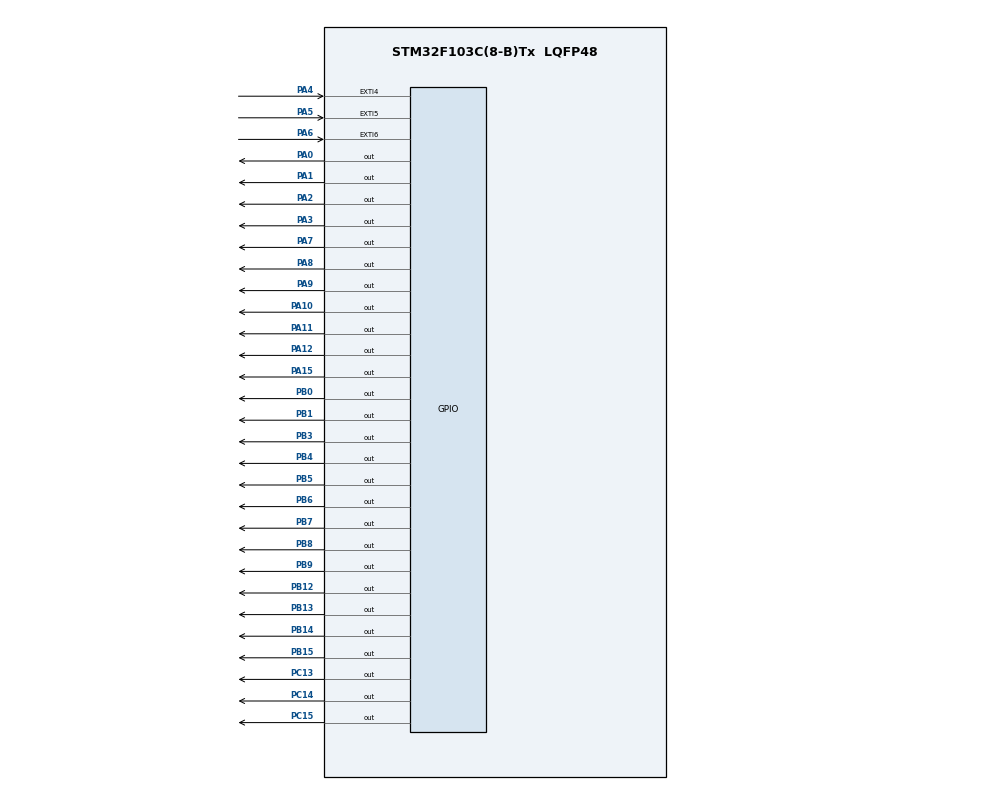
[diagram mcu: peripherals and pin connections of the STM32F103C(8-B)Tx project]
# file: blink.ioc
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Mcu.Family=STM32F1
Mcu.Name=STM32F103C(8-B)Tx
Mcu.Package=LQFP48
NVIC.EXTI4_IRQn=true\:0\:0\:false\:false\:true\:true\:true
NVIC.EXTI9_5_IRQn=true\:0\:0\:false\:false\:true\:true\:true
NVIC.PriorityGroup=NVIC_PRIORITYGROUP_4
PA0-WKUP.Signal=GPIO_Output
PA1.Signal=GPIO_Output
PA10.Signal=GPIO_Output
PA11.Signal=GPIO_Output
PA12.Signal=GPIO_Output
PA13.Mode=Serial_Wire
PA13.Signal=SYS_JTMS-SWDIO
PA14.Mode=Serial_Wire
PA14.Signal=SYS_JTCK-SWCLK
PA15.Signal=GPIO_Output
PA2.Signal=GPIO_Output
PA3.Signal=GPIO_Output
PA4.GPIO_ModeDefaultEXTI=GPIO_MODE_IT_FALLING
PA4.GPIO_PuPd=GPIO_PULLUP
PA4.Signal=GPXTI4
PA5.GPIO_ModeDefaultEXTI=GPIO_MODE_IT_FALLING
PA5.GPIO_PuPd=GPIO_PULLUP
PA5.Signal=GPXTI5
PA6.GPIO_ModeDefaultEXTI=GPIO_MODE_IT_FALLING
PA6.GPIO_PuPd=GPIO_PULLUP
PA6.Signal=GPXTI6
PA7.GPIO_Speed=GPIO_SPEED_FREQ_MEDIUM
PA7.PinState=GPIO_PIN_SET
PA7.Signal=GPIO_Output
PA8.Signal=GPIO_Output
PA9.Signal=GPIO_Output
PB0.GPIO_Speed=GPIO_SPEED_FREQ_MEDIUM
PB0.PinState=GPIO_PIN_SET
PB0.Signal=GPIO_Output
PB1.GPIO_Speed=GPIO_SPEED_FREQ_MEDIUM
PB1.PinState=GPIO_PIN_SET
PB1.Signal=GPIO_Output
PB12.Signal=GPIO_Output
PB13.Signal=GPIO_Output
PB14.Signal=GPIO_Output
PB15.Signal=GPIO_Output
PB3.Signal=GPIO_Output
PB4.Signal=GPIO_Output
PB5.Signal=GPIO_Output
PB6.Signal=GPIO_Output
PB7.Signal=GPIO_Output
PB8.Signal=GPIO_Output
PB9.Signal=GPIO_Output
PC13-TAMPER-RTC.PinState=GPIO_PIN_RESET
PC13-TAMPER-RTC.Signal=GPIO_Output
PC14-OSC32_IN.Signal=GPIO_Output
PC15-OSC32_OUT.Signal=GPIO_Output
ProjectManager.HeapSize=0x200
ProjectManager.StackSize=0x400
ProjectManager.TargetToolchain=MDK-ARM V5.27
RCC.APB1Freq_Value=8000000
RCC.APB2Freq_Value=8000000
board=custom

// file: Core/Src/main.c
/* USER CODE BEGIN Header */
/**
  ******************************************************************************
  * @file           : main.c
  * @brief          : Main program body
  ******************************************************************************
  * @attention
  *
  * <h2><center>&copy; Copyright (c) 2020 STMicroelectronics.
  * All rights reserved.</center></h2>
  *
  * This software component is licensed by ST under BSD 3-Clause license,
  * the "License"; You may not use this file except in compliance with the
  * License. You may obtain a copy of the License at:
  *                        opensource.org/licenses/BSD-3-Clause
  *
  ******************************************************************************
  */
/* USER CODE END Header */
#include "main.h"

/* USER CODE BEGIN Includes */
#include "ShiftReg.h"
#include "Lcd.h"
#include "Effect.h"
#include "stdbool.h"
#include "stdlib.h"

/* USER CODE END Includes */

/* USER CODE BEGIN PD */
	void CoveterDecToString(int k, unsigned char con[])
{
  int j = 0, n = 0;
  char temp[4];
  con[0]='\0';
  con[1]='\0';
  con[2]='\0';
  con[3]='\0';
  while (k > 0)
  {
    temp[j] = k % 10 + 48;
    k = k / 10;
    j++;
  }
	if (j == 3) temp[3] = '0';
  for (j = 3; j >= 0; j--)
  {
    con[n] = temp[j];
    n++;
  }
}

void delay (int u)
	{
		for (int i=0; i<u;i++)
		{
			__NOP;
		}
	}

/* USER CODE END PD */

/* USER CODE BEGIN PM */
#define Start                GPIO_PIN_4
#define Inc                   GPIO_PIN_5
#define Dec                  GPIO_PIN_6

/* USER CODE END PM */

/* Private variables -------------------------GPIO_PIN_4--------------------------------*/

/* USER CODE BEGIN PV */
unsigned char speed[5];
unsigned char effect = 0;

/* USER CODE END PV */

void SystemClock_Config(void);
static void MX_GPIO_Init(void);

int main(void)
{

  /* MCU Configuration--------------------------------------------------------*/

  /* Reset of all peripherals, Initializes the Flash interface and the Systick. */
  HAL_Init();

  /* Configure the system clock */
  SystemClock_Config();

  /* Initialize all configured peripherals */
  MX_GPIO_Init();
  /* USER CODE BEGIN 2 */
  LCD_Init();
		LCD_ClearDisplay();
		(void) LCD_GotoXY(1, 0);
		LCD_PutString(">>> RUNNING ");
		(void) LCD_GotoXY(1, 1);
		LCD_PutString("Speed: ");
		(void) LCD_GotoXY(8, 1);
		CoveterDecToString(Speed,speed);
		LCD_PutString(speed);

		(void) LCD_GotoXY(13, 1);
		LCD_PutString("ms");
  /* USER CODE END 2 */

  /* Infinite loop */
  while (1)
  {

    /* USER CODE BEGIN 3 */

			switch (effect)
			{
				case 0:
									Turn_On_All_Led();
									HAL_Delay(300);
									Turn_Off_All_Led();
									HAL_Delay(300);
									effect++;
									break;
				case 1:
									turn_on_one_channel_from_right_to_left(1);
									effect++;
									break;
				case 2:
									turn_off_one_channel_from_right_to_left(1);
									effect++;
									break;
				case 3:
									turn_on_only_one_channel_from_right_to_left(1);
									effect++;
									break;
				case 4:
									turn_off_only_one_channel_from_right_to_left(1);
									effect++;
									break;
				case 5:
									turn_on_two_channel_from_between_to_beside(1);
									effect++;
									break;
				case 6:
									turn_off_two_channel_from_between_to_beside(1);
									effect++;
									break;
				case 7:
									turn_on_two_channel_from_beside_to_between(1);
									effect++;
									break;
				case 8:
									turn_off_two_channel_from_beside_to_between(1);
									effect++;
									break;
				case 9:
									blink_interleaved(1);
									effect++;
									break;
				case 10:
									blink_all(1);
									effect = 0;
									break;
				default:
									break;
	}

 /*

				HAL_GPIO_WritePin(GPIOC, GPIO_PIN_13, GPIO_PIN_RESET);
				 HAL_Delay(200);
				HAL_GPIO_WritePin(GPIOC, GPIO_PIN_13, GPIO_PIN_SET);
				 HAL_Delay(200);
*/

  }
  /* USER CODE END 3 */
}

void SystemClock_Config(void)
{
  RCC_OscInitTypeDef RCC_OscInitStruct = {0};
  RCC_ClkInitTypeDef RCC_ClkInitStruct = {0};

  /** Initializes the RCC Oscillators according to the specified parameters
  * in the RCC_OscInitTypeDef structure.
  */
  RCC_OscInitStruct.OscillatorType = RCC_OSCILLATORTYPE_HSI;
  RCC_OscInitStruct.HSIState = RCC_HSI_ON;
  RCC_OscInitStruct.HSICalibrationValue = RCC_HSICALIBRATION_DEFAULT;
  RCC_OscInitStruct.PLL.PLLState = RCC_PLL_NONE;
  if (HAL_RCC_OscConfig(&RCC_OscInitStruct) != HAL_OK)
  {
    Error_Handler();
  }
  /** Initializes the CPU, AHB and APB buses clocks
  */
  RCC_ClkInitStruct.ClockType = RCC_CLOCKTYPE_HCLK|RCC_CLOCKTYPE_SYSCLK
                              |RCC_CLOCKTYPE_PCLK1|RCC_CLOCKTYPE_PCLK2;
  RCC_ClkInitStruct.SYSCLKSource = RCC_SYSCLKSOURCE_HSI;
  RCC_ClkInitStruct.AHBCLKDivider = RCC_SYSCLK_DIV1;
  RCC_ClkInitStruct.APB1CLKDivider = RCC_HCLK_DIV1;
  RCC_ClkInitStruct.APB2CLKDivider = RCC_HCLK_DIV1;

  if (HAL_RCC_ClockConfig(&RCC_ClkInitStruct, FLASH_LATENCY_0) != HAL_OK)
  {
    Error_Handler();
  }
}

static void MX_GPIO_Init(void)
{
  GPIO_InitTypeDef GPIO_InitStruct = {0};

  /* GPIO Ports Clock Enable */
  __HAL_RCC_GPIOC_CLK_ENABLE();
  __HAL_RCC_GPIOA_CLK_ENABLE();
  __HAL_RCC_GPIOB_CLK_ENABLE();

  /*Configure GPIO pin Output Level */
  HAL_GPIO_WritePin(GPIOC, GPIO_PIN_13|GPIO_PIN_14|GPIO_PIN_15, GPIO_PIN_RESET);

  /*Configure GPIO pin Output Level */
  HAL_GPIO_WritePin(GPIOA, GPIO_PIN_0|GPIO_PIN_1|GPIO_PIN_2|GPIO_PIN_3
                          |GPIO_PIN_8|GPIO_PIN_9|GPIO_PIN_10|GPIO_PIN_11
                          |GPIO_PIN_12|GPIO_PIN_15, GPIO_PIN_RESET);

  /*Configure GPIO pin Output Level */
  HAL_GPIO_WritePin(GPIOA, GPIO_PIN_7, GPIO_PIN_SET);

  /*Configure GPIO pin Output Level */
  HAL_GPIO_WritePin(GPIOB, GPIO_PIN_0|GPIO_PIN_1, GPIO_PIN_SET);

  /*Configure GPIO pin Output Level */
  HAL_GPIO_WritePin(GPIOB, GPIO_PIN_12|GPIO_PIN_13|GPIO_PIN_14|GPIO_PIN_15
                          |GPIO_PIN_3|GPIO_PIN_4|GPIO_PIN_5|GPIO_PIN_6
                          |GPIO_PIN_7|GPIO_PIN_8|GPIO_PIN_9, GPIO_PIN_RESET);

  /*Configure GPIO pins : PC13 PC14 PC15 */
  GPIO_InitStruct.Pin = GPIO_PIN_13|GPIO_PIN_14|GPIO_PIN_15;
  GPIO_InitStruct.Mode = GPIO_MODE_OUTPUT_PP;
  GPIO_InitStruct.Pull = GPIO_NOPULL;
  GPIO_InitStruct.Speed = GPIO_SPEED_FREQ_LOW;
  HAL_GPIO_Init(GPIOC, &GPIO_InitStruct);

  /*Configure GPIO pins : PA0 PA1 PA2 PA3
                           PA8 PA9 PA10 PA11
                           PA12 PA15 */
  GPIO_InitStruct.Pin = GPIO_PIN_0|GPIO_PIN_1|GPIO_PIN_2|GPIO_PIN_3
                          |GPIO_PIN_8|GPIO_PIN_9|GPIO_PIN_10|GPIO_PIN_11
                          |GPIO_PIN_12|GPIO_PIN_15;
  GPIO_InitStruct.Mode = GPIO_MODE_OUTPUT_PP;
  GPIO_InitStruct.Pull = GPIO_NOPULL;
  GPIO_InitStruct.Speed = GPIO_SPEED_FREQ_LOW;
  HAL_GPIO_Init(GPIOA, &GPIO_InitStruct);

  /*Configure GPIO pins : PA4 PA5 PA6 */
  GPIO_InitStruct.Pin = GPIO_PIN_4|GPIO_PIN_5|GPIO_PIN_6;
  GPIO_InitStruct.Mode = GPIO_MODE_IT_FALLING;
  GPIO_InitStruct.Pull = GPIO_PULLUP;
  HAL_GPIO_Init(GPIOA, &GPIO_InitStruct);

  /*Configure GPIO pin : PA7 */
  GPIO_InitStruct.Pin = GPIO_PIN_7;
  GPIO_InitStruct.Mode = GPIO_MODE_OUTPUT_PP;
  GPIO_InitStruct.Pull = GPIO_NOPULL;
  GPIO_InitStruct.Speed = GPIO_SPEED_FREQ_MEDIUM;
  HAL_GPIO_Init(GPIOA, &GPIO_InitStruct);

  /*Configure GPIO pins : PB0 PB1 */
  GPIO_InitStruct.Pin = GPIO_PIN_0|GPIO_PIN_1;
  GPIO_InitStruct.Mode = GPIO_MODE_OUTPUT_PP;
  GPIO_InitStruct.Pull = GPIO_NOPULL;
  GPIO_InitStruct.Speed = GPIO_SPEED_FREQ_MEDIUM;
  HAL_GPIO_Init(GPIOB, &GPIO_InitStruct);

  /*Configure GPIO pins : PB12 PB13 PB14 PB15
                           PB3 PB4 PB5 PB6
                           PB7 PB8 PB9 */
  GPIO_InitStruct.Pin = GPIO_PIN_12|GPIO_PIN_13|GPIO_PIN_14|GPIO_PIN_15
                          |GPIO_PIN_3|GPIO_PIN_4|GPIO_PIN_5|GPIO_PIN_6
                          |GPIO_PIN_7|GPIO_PIN_8|GPIO_PIN_9;
  GPIO_InitStruct.Mode = GPIO_MODE_OUTPUT_PP;
  GPIO_InitStruct.Pull = GPIO_NOPULL;
  GPIO_InitStruct.Speed = GPIO_SPEED_FREQ_LOW;
  HAL_GPIO_Init(GPIOB, &GPIO_InitStruct);

  /* EXTI interrupt init*/
  HAL_NVIC_SetPriority(EXTI4_IRQn, 0, 0);
  HAL_NVIC_EnableIRQ(EXTI4_IRQn);

  HAL_NVIC_SetPriority(EXTI9_5_IRQn, 0, 0);
  HAL_NVIC_EnableIRQ(EXTI9_5_IRQn);

}

/* USER CODE BEGIN 4 */

void HAL_GPIO_EXTI_Callback(uint16_t GPIO_Pin){

	    if (GPIO_Pin == Start)
	  	{
					while(!Start);
					HAL_GPIO_TogglePin(GPIOC, GPIO_PIN_13);
		  }

			if (GPIO_Pin == Inc) {
					  	while(!Inc);
						 HAL_GPIO_TogglePin(GPIOC, GPIO_PIN_13);
				     if (Speed <2000)
							{
								   Speed = Speed + 100;
							}
							(void) LCD_GotoXY(8, 1);
					    CoveterDecToString(Speed,speed);
					    LCD_PutString(speed);
			}

			if (GPIO_Pin == Dec) {
							while(!Dec);
							HAL_GPIO_TogglePin(GPIOC, GPIO_PIN_13);
							if (Speed >100)
							{
								 Speed = Speed - 100;
							}
							(void) LCD_GotoXY(8, 1);
							CoveterDecToString(Speed,speed);
							LCD_PutString(speed);
		  	}

}

/* USER CODE END 4 */

void Error_Handler(void)
{
  __disable_irq();
  while (1)
  {
  }
}

/************************ (C) COPYRIGHT STMicroelectronics *****END OF FILE****/
